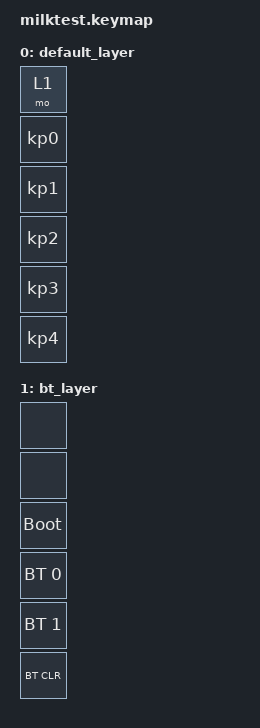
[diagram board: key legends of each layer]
#include <behaviors.dtsi>
#include <dt-bindings/zmk/keys.h>
#include <dt-bindings/zmk/bt.h>

/ {  
    keymap {
        compatible = "zmk,keymap";

        default_layer {
            bindings = <
                &mo 1
                &kp KP_N0
                &kp KP_N1
                &kp KP_N2
                &kp KP_N3
                &kp KP_N4
            >;
        }; 
        
        bt_layer {
            bindings = <
                &none
                &none
                &bootloader
                &bt BT_SEL 0
                &bt BT_SEL 1
                &bt BT_CLR
            >;
        };
    };
};

